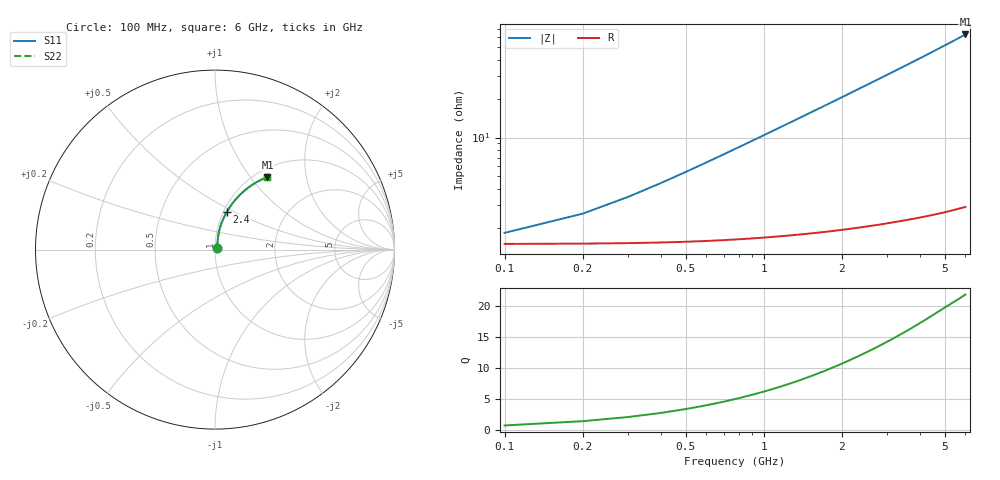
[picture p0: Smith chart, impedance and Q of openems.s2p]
#  Hz  S  RI  R  50
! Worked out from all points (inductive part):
!   60 points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, 100 MHz to 6 GHz, reference 50 ohm
!   read as one part in series: L = 1.64 nH near 500 MHz
!   highest Q = 21.8 at 6 GHz (marker M1), where L = 1.67 nH
!   S11 on the Smith chart (normalised r, x): 100 MHz: 1.03, +0.02; 2.4 GHz: 1.04, +0.46; 6 GHz: 1.13, +1.22
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1e8  0.0133 0.00874  0.9836 -0.0115  0.9836 -0.0115  0.0133 0.00874
2e8  0.0134 0.0175  0.9829 -0.0229  0.9829 -0.0229  0.0134 0.0175
3e8  0.0136 0.0264  0.9818 -0.0341  0.9818 -0.0341  0.0136 0.0264
4e8  0.0139 0.0353  0.9804 -0.0451  0.9804 -0.0451  0.0139 0.0353
5e8  0.0144 0.0443  0.9787 -0.056  0.9787 -0.056  0.0144 0.0443
6e8  0.0151 0.0534  0.9767 -0.0665  0.9767 -0.0665  0.0151 0.0534
7e8  0.016 0.0625  0.9745 -0.0769  0.9745 -0.0769  0.016 0.0625
8e8  0.0172 0.0717  0.9722 -0.0871  0.9722 -0.0871  0.0172 0.0717
9e8  0.0186 0.0809  0.9698 -0.0972  0.9698 -0.0972  0.0186 0.0809
1.1e9  0.0222 0.0992  0.9645 -0.1169  0.9645 -0.1169  0.0222 0.0992
1.3e9  0.0268 0.1173  0.9588 -0.1361  0.9588 -0.1361  0.0268 0.1173
1.5e9  0.0322 0.1351  0.9526 -0.1551  0.9526 -0.1551  0.0322 0.135
1.8e9  0.0419 0.161  0.9422 -0.1829  0.9422 -0.1829  0.0419 0.1609
2.1e9  0.0532 0.186  0.9306 -0.2101  0.9306 -0.2101  0.0532 0.1859
2.4e9  0.0659 0.2099  0.9176 -0.2364  0.9176 -0.2364  0.0659 0.2098
2.7e9  0.0799 0.2327  0.9034 -0.2617  0.9034 -0.2617  0.0799 0.2326
3.1e9  0.1003 0.2614  0.8825 -0.2939  0.8825 -0.2939  0.1003 0.2612
3.6e9  0.1285 0.2945  0.8538 -0.3313  0.8538 -0.3313  0.1285 0.2943
4.1e9  0.1593 0.3242  0.8225 -0.3653  0.8225 -0.3652  0.1594 0.324
4.6e9  0.1923 0.3505  0.7893 -0.3959  0.7893 -0.3959  0.1924 0.3502
5.1e9  0.227 0.3731  0.7543 -0.423  0.7543 -0.423  0.2271 0.3728
6e9  0.2919 0.4045  0.6882 -0.4626  0.6882 -0.4626  0.292 0.4041
